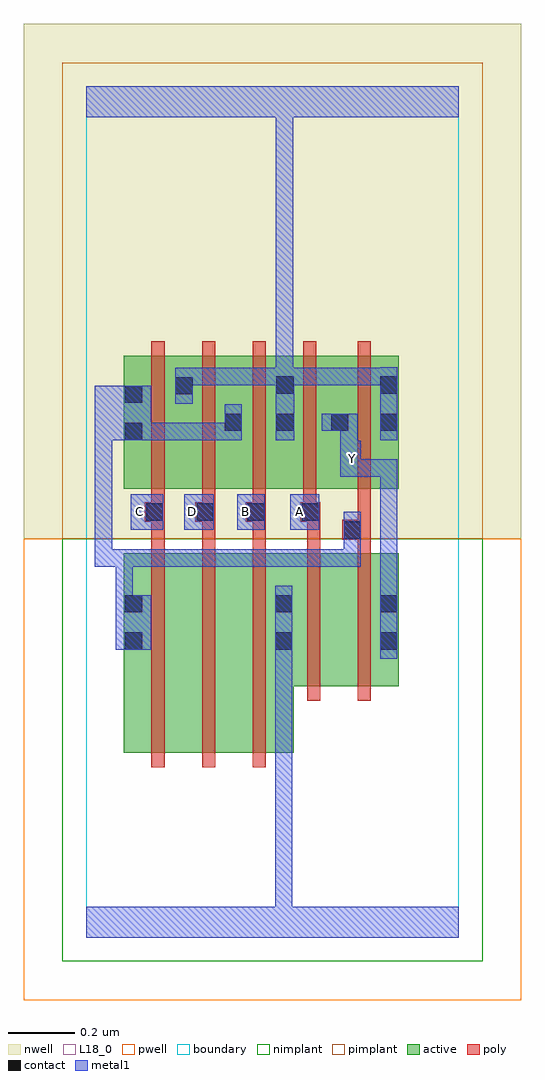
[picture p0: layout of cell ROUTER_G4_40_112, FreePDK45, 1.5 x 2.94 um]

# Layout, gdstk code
import gdstk
lib = gdstk.Library(unit=1e-6, precision=1e-09)
def R(c, l, rs):  # rectangles x0, y0, x1, y1
    for r in rs: c.add(gdstk.rectangle(r[:2], r[2:], *l))
def A(c, l, x, y, w, h, nx, ny, dx, dy):  # array of equal rectangles
    R(c, l, [(x+i*dx, y+j*dy, x+i*dx+w, y+j*dy+h) for i in range(nx) for j in range(ny)])
active = (1, 0)
pwell = (2, 0)
nwell = (3, 0)
nimplant = (4, 0)
pimplant = (5, 0)
poly = (9, 0)
contact = (10, 0)
metal1 = (11, 0)
L18_0 = (18, 0)
boundary = (235, 0)

router_g4_40_112 = lib.new_cell('ROUTER_G4_40_112')
R(router_g4_40_112, active, [(0.112,0.556,0.292,1.156), (0.112,0.556,0.172,1.156), (0.292,0.556,0.444,1.156), (0.444,0.556,0.624,1.156), (0.564,0.556,0.624,1.062), (0.564,0.756,0.76,1.156), (0.76,0.756,0.94,1.156), (0.88,0.756,0.94,1.156), (0.112,1.35,0.172,1.75), (0.112,1.35,0.324,1.75), (0.264,1.35,0.472,1.75), (0.412,1.35,0.628,1.75), (0.568,1.35,0.792,1.75), (0.732,1.35,0.94,1.75), (0.88,1.35,0.94,1.692), (0.568,1.388,0.628,1.75), (0.264,1.52,0.324,1.75), (0.412,1.52,0.472,1.644), (0.732,1.52,0.792,1.644)])
R(router_g4_40_112, pwell, [(-0.188,-0.188,1.308,1.2)])
R(router_g4_40_112, nwell, [(-0.188,1.2,1.308,2.748)])
R(router_g4_40_112, nimplant, [(-0.072,-0.072,1.192,1.2)])
R(router_g4_40_112, pimplant, [(-0.072,1.2,1.192,2.632)])
A(router_g4_40_112, poly, 0.196, 0.512, 0.04, 0.688, 3, 1, 0.152, 0)
A(router_g4_40_112, poly, 0.196, 1.16, 0.04, 0.13, 3, 1, 0.152, 0)
A(router_g4_40_112, poly, 0.176, 1.25, 0.06, 0.06, 3, 1, 0.152, 0)
A(router_g4_40_112, poly, 0.196, 1.27, 0.04, 0.076, 4, 1, 0.152, 0)
A(router_g4_40_112, poly, 0.196, 1.306, 0.04, 0.488, 4, 1, 0.152, 0)
R(router_g4_40_112, poly, [(0.664,0.712,0.704,1.2), (0.816,0.712,0.856,1.2), (0.664,1.16,0.704,1.29), (0.816,1.16,0.856,1.236), (0.77,1.196,0.856,1.256), (0.816,1.216,0.856,1.346), (0.816,1.216,0.856,1.256), (0.816,1.216,0.856,1.256), (0.196,1.25,0.236,1.29), (0.196,1.25,0.236,1.29), (0.348,1.25,0.388,1.29), (0.348,1.25,0.388,1.29), (0.5,1.25,0.54,1.29), (0.5,1.25,0.54,1.29), (0.644,1.25,0.704,1.31), (0.664,1.25,0.704,1.29), (0.664,1.25,0.704,1.29), (0.816,1.306,0.856,1.794)])
A(router_g4_40_112, contact, 0.18, 1.254, 0.052, 0.052, 3, 1, 0.152, 0)
R(router_g4_40_112, contact, [(0.116,0.866,0.168,0.918), (0.568,0.866,0.62,0.918), (0.884,0.866,0.936,0.918), (0.116,0.978,0.168,1.03), (0.568,0.978,0.62,1.03), (0.884,0.978,0.936,1.03), (0.774,1.2,0.826,1.252), (0.648,1.254,0.7,1.306), (0.116,1.496,0.168,1.548), (0.416,1.524,0.468,1.576), (0.572,1.524,0.624,1.576), (0.736,1.524,0.788,1.576), (0.884,1.524,0.936,1.576), (0.116,1.608,0.168,1.66), (0.268,1.634,0.32,1.686), (0.572,1.636,0.624,1.688), (0.884,1.636,0.936,1.688)])
R(router_g4_40_112, metal1, [(0,0,1.12,0.092), (0.568,0.04,0.62,0.092), (0.568,0.04,0.62,0.092), (0.568,0.04,0.62,0.092), (0.568,0.04,0.62,0.092), (0.568,0.04,0.62,0.092), (0.568,0.04,0.62,0.092), (0.568,0.04,0.62,0.092), (0.568,0.04,0.62,0.092), (0.568,0.04,0.62,0.89), (0.568,0.838,0.62,1.058), (0.884,0.838,0.936,1.058), (0.088,0.866,0.196,1.03), (0.088,0.978,0.14,1.168), (0.884,1.006,0.936,1.438), (0.026,1.116,0.078,1.168), (0.026,1.116,0.078,1.168), (0.026,1.116,0.078,1.548), (0.026,1.116,0.14,1.168), (0.088,1.116,0.14,1.168), (0.088,1.116,0.14,1.168), (0.088,1.116,0.358,1.168), (0.306,1.116,0.358,1.168), (0.306,1.116,0.358,1.168), (0.306,1.116,0.358,1.168), (0.306,1.116,0.51,1.168), (0.458,1.116,0.51,1.168), (0.458,1.116,0.51,1.168), (0.458,1.116,0.51,1.168), (0.458,1.116,0.62,1.168), (0.568,1.116,0.62,1.168), (0.568,1.116,0.62,1.168), (0.568,1.116,0.62,1.168), (0.568,1.116,0.826,1.168), (0.774,1.116,0.826,1.224), (0.774,1.172,0.826,1.224), (0.774,1.172,0.826,1.28), (0.134,1.226,0.232,1.334), (0.294,1.226,0.384,1.334), (0.454,1.226,0.536,1.334), (0.614,1.226,0.7,1.334), (0.764,1.386,0.826,1.494), (0.774,1.386,0.936,1.438), (0.884,1.386,0.936,1.438), (0.884,1.386,0.936,1.438), (0.884,1.386,0.936,1.438), (0.884,1.386,0.936,1.438), (0.884,1.386,0.936,1.438), (0.764,1.442,0.816,1.576), (0.026,1.496,0.196,1.66), (0.144,1.496,0.196,1.548), (0.144,1.496,0.196,1.548), (0.144,1.496,0.358,1.548), (0.306,1.496,0.358,1.548), (0.306,1.496,0.358,1.548), (0.306,1.496,0.358,1.548), (0.306,1.496,0.468,1.548), (0.416,1.496,0.468,1.604), (0.57,1.496,0.626,1.716), (0.884,1.496,0.936,1.716), (0.708,1.524,0.816,1.576), (0.268,1.606,0.32,1.714), (0.268,1.662,0.32,1.714), (0.268,1.662,0.32,1.714), (0.268,1.662,0.51,1.714), (0.458,1.662,0.51,1.714), (0.458,1.662,0.51,1.714), (0.458,1.662,0.51,1.714), (0.458,1.662,0.622,1.714), (0.57,1.662,0.622,1.714), (0.57,1.662,0.622,1.714), (0.57,1.662,0.622,1.714), (0.57,1.662,0.622,1.714), (0.57,1.662,0.622,1.714), (0.57,1.662,0.622,1.716), (0.57,1.662,0.622,1.716), (0.57,1.662,0.622,1.716), (0.57,1.662,0.622,1.716), (0.57,1.662,0.622,1.716), (0.574,1.662,0.626,1.714), (0.574,1.662,0.626,1.714), (0.574,1.662,0.826,1.714), (0.774,1.662,0.826,1.714), (0.774,1.662,0.936,1.714), (0.884,1.662,0.936,1.714), (0.884,1.662,0.936,1.714), (0.57,1.664,0.622,1.716), (0.57,1.664,0.622,1.716), (0.57,1.664,0.622,1.716), (0.57,1.664,0.622,1.716), (0.57,1.664,0.622,2.52), (0,2.468,1.12,2.56), (0.57,2.468,0.622,2.52), (0.57,2.468,0.622,2.52)])
A(router_g4_40_112, L18_0, 0.134, 1.254, 0.052, 0.052, 4, 1, 0.16, 0)
R(router_g4_40_112, L18_0, [(0,0,1.12,0.092), (0.568,0.04,0.62,0.092), (0.568,0.04,0.62,0.092), (0.568,0.04,0.62,0.092), (0.568,0.04,0.62,0.092), (0.568,0.04,0.62,0.092), (0.568,0.04,0.62,0.092), (0.568,0.04,0.62,0.092), (0.568,0.04,0.62,0.092), (0.568,0.04,0.62,0.89), (0.568,0.838,0.62,1.058), (0.884,0.838,0.936,1.058), (0.884,1.006,0.936,1.438), (0.134,1.226,0.232,1.334), (0.294,1.226,0.384,1.334), (0.454,1.226,0.536,1.334), (0.614,1.226,0.7,1.334), (0.764,1.386,0.826,1.494), (0.774,1.386,0.936,1.438), (0.884,1.386,0.936,1.438), (0.884,1.386,0.936,1.438), (0.884,1.386,0.936,1.438), (0.884,1.386,0.936,1.438), (0.884,1.386,0.936,1.438), (0.774,1.414,0.826,1.466), (0.764,1.442,0.816,1.576), (0.57,1.496,0.626,1.716), (0.884,1.496,0.936,1.716), (0.708,1.524,0.816,1.576), (0.268,1.606,0.32,1.714), (0.268,1.662,0.32,1.714), (0.268,1.662,0.32,1.714), (0.268,1.662,0.51,1.714), (0.458,1.662,0.51,1.714), (0.458,1.662,0.51,1.714), (0.458,1.662,0.51,1.714), (0.458,1.662,0.622,1.714), (0.57,1.662,0.622,1.714), (0.57,1.662,0.622,1.714), (0.57,1.662,0.622,1.714), (0.57,1.662,0.622,1.714), (0.57,1.662,0.622,1.714), (0.57,1.662,0.622,1.716), (0.57,1.662,0.622,1.716), (0.57,1.662,0.622,1.716), (0.57,1.662,0.622,1.716), (0.57,1.662,0.622,1.716), (0.574,1.662,0.626,1.714), (0.574,1.662,0.626,1.714), (0.574,1.662,0.826,1.714), (0.774,1.662,0.826,1.714), (0.774,1.662,0.936,1.714), (0.884,1.662,0.936,1.714), (0.884,1.662,0.936,1.714), (0.57,1.664,0.622,1.716), (0.57,1.664,0.622,1.716), (0.57,1.664,0.622,1.716), (0.57,1.664,0.622,1.716), (0.57,1.664,0.622,2.52), (0,2.468,1.12,2.56), (0.57,2.468,0.622,2.52), (0.57,2.468,0.622,2.52)])
R(router_g4_40_112, boundary, [(0,0,1.12,2.56)])
router_g4_40_112.add(gdstk.Label('A', (0.64,1.28), layer=11, texttype=0))
router_g4_40_112.add(gdstk.Label('B', (0.48,1.28), layer=11, texttype=0))
router_g4_40_112.add(gdstk.Label('C', (0.16,1.28), layer=11, texttype=0))
router_g4_40_112.add(gdstk.Label('D', (0.32,1.28), layer=11, texttype=0))
router_g4_40_112.add(gdstk.Label('Y', (0.8,1.44), layer=11, texttype=0))

lib.write_gds('ROUTER_G4_40_112.gds')
